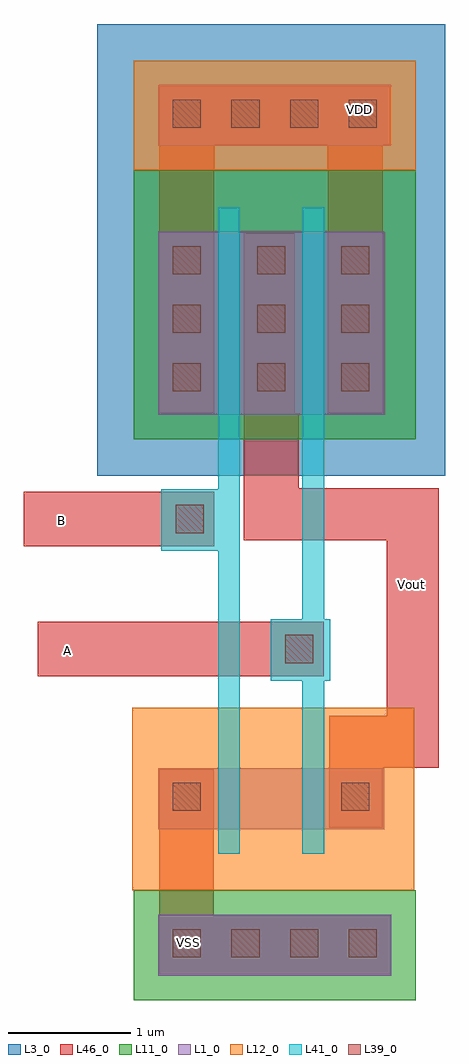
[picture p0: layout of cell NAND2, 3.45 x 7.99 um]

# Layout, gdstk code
import gdstk
lib = gdstk.Library(unit=1e-6, precision=1e-09)
def R(c, l, rs):  # rectangles x0, y0, x1, y1
    for r in rs: c.add(gdstk.rectangle(r[:2], r[2:], *l))
def A(c, l, x, y, w, h, nx, ny, dx, dy):  # array of equal rectangles
    R(c, l, [(x+i*dx, y+j*dy, x+i*dx+w, y+j*dy+h) for i in range(nx) for j in range(ny)])
def P(c, l, *ps):  # polygons
    for p in ps: c.add(gdstk.Polygon(p, *l))
L1_0 = (1, 0)
L3_0 = (3, 0)
L11_0 = (11, 0)
L12_0 = (12, 0)
L39_0 = (39, 0)
L41_0 = (41, 0)
L46_0 = (46, 0)

nand2 = lib.new_cell('NAND2')
R(nand2, L1_0, [(0.985,0.2,2.895,0.7), (0.985,1.4,2.835,1.9), (0.985,4.795,2.835,6.295), (0.985,6.996,2.895,7.496)])
R(nand2, L3_0, [(0.485,4.295,3.335,7.995)])
R(nand2, L11_0, [(0.785,0,3.095,0.9), (0.785,4.595,3.095,6.795)])
R(nand2, L12_0, [(0.771,0.9,3.081,2.395), (0.785,6.795,3.095,7.695)])
A(nand2, L39_0, 1.105, 0.35, 0.23, 0.23, 4, 2, 0.48, 6.796)
A(nand2, L39_0, 1.105, 4.985, 0.23, 0.23, 3, 3, 0.69, 0.48)
R(nand2, L39_0, [(1.105,1.55,1.335,1.78), (2.485,1.55,2.715,1.78), (2.025,2.76,2.255,2.99), (1.13,3.825,1.36,4.055)])
R(nand2, L41_0, [(1.475,1.2,1.655,6.495), (2.165,1.2,2.345,6.495), (1.905,2.615,2.395,3.12), (1.01,3.68,1.5,4.185)])
R(nand2, L46_0, [(2.385,1.41,2.825,1.902), (1.685,4.805,2.105,6.285)])
P(nand2, L46_0, [(0.995,0.21),(0.995,1.89),(1.44,1.89),(1.44,0.69),(2.885,0.69),(2.885,0.21)],
  [(0.995,4.805),(0.995,7.485),(2.885,7.485),(2.885,7.005),(2.825,7.005),(2.825,4.805),(2.375,4.805),(2.375,7.005),(1.445,7.005),(1.445,4.805)])
nand2.add(gdstk.FlexPath([(0,2.875),(2.34,2.875)], 0.45, ends="flush", simple_path=True, layer=46, datatype=0))  # L46_0
nand2.add(gdstk.FlexPath([(1.91,3.975),(1.91,4.805)], 0.45, ends="flush", simple_path=True, layer=46, datatype=0))  # L46_0
nand2.add(gdstk.FlexPath([(-0.115,3.94),(1.445,3.94)], 0.45, ends="flush", simple_path=True, layer=46, datatype=0))  # L46_0
nand2.add(gdstk.FlexPath([(3.07,1.902),(3.07,3.98),(1.685,3.98)], 0.426, ends="flush", simple_path=True, layer=46, datatype=0))  # L46_0
nand2.add(gdstk.FlexPath([(2.598,1.89),(2.598,2.115),(3.053,2.115)], 0.426, ends="flush", simple_path=True, layer=46, datatype=0))  # L46_0
nand2.add(gdstk.Label('A', (0.24,2.86), layer=101, texttype=0))
nand2.add(gdstk.Label('VDD', (2.635,7.295), layer=101, texttype=0))
nand2.add(gdstk.Label('B', (0.19,3.93), layer=101, texttype=0))
nand2.add(gdstk.Label('VSS', (1.235,0.47), layer=101, texttype=0))
nand2.add(gdstk.Label('Vout', (3.06,3.4), layer=101, texttype=0))

lib.write_gds('NAND2.gds')
